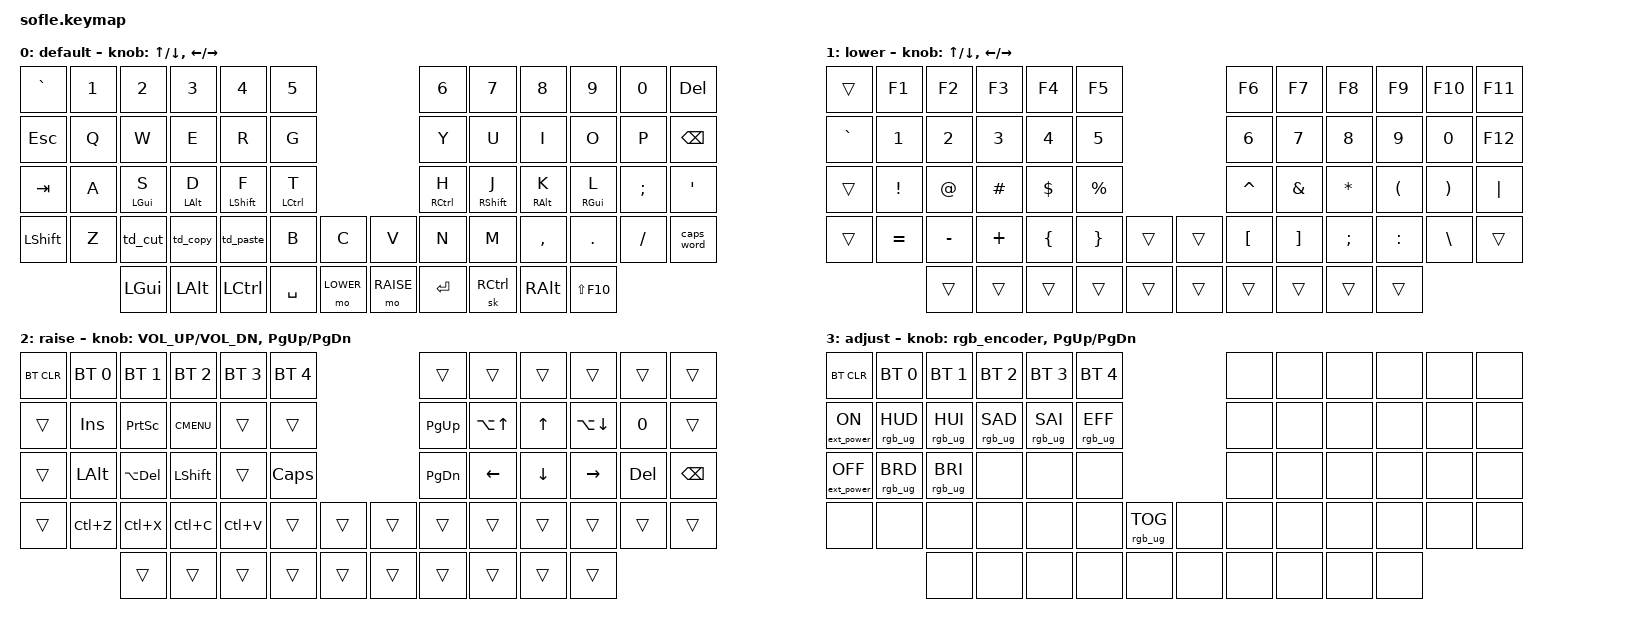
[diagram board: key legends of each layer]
/*
 * Copyright (c) 2020 The ZMK Contributors
 *
 * SPDX-License-Identifier: MIT
 */

#include <behaviors.dtsi>
#include <dt-bindings/zmk/keys.h>
#include <dt-bindings/zmk/bt.h>
#include <dt-bindings/zmk/rgb.h>
#include <dt-bindings/zmk/ext_power.h>

#define BASE 0
#define LOWER 1
#define RAISE 2
#define ADJUST 3

/ {


   // Activate ADJUST layer by pressing raise and lower
    conditional_layers {
        compatible = "zmk,conditional-layers";
        adjust_layer {
            if-layers = <LOWER RAISE>;
            then-layer = <ADJUST>;
        };
    };



    combos {
        compatible = "zmk,combos";
        combo_esc {
            timeout-ms = <300>;
            key-positions = <13 14>;
            bindings = <&kp ESC>;
        };
        combo_grave_1_base {
            timeout-ms = <300>;
            key-positions = <0 1>;
            bindings = <&to BASE>;
        };
        combo_grave_2_lower {
            timeout-ms = <300>;
            key-positions = <0 2>;
            bindings = <&to LOWER>;
        };
        combo_grave_3_raise {
            timeout-ms = <300>;
            key-positions = <0 3>;
            bindings = <&to RAISE>;
        };
        combo_grave_4_adjust {
            timeout-ms = <300>;
            key-positions = <0 4>;
            bindings = <&to ADJUST>;
        };

    };


    behaviors {
        rgb_encoder: rgb_encoder {
            compatible = "zmk,behavior-sensor-rotate";
            #sensor-binding-cells = <0>;
            bindings = <&rgb_ug RGB_HUI>, <&rgb_ug RGB_HUD>;
        };

        td0:  shift_smart {
            compatible = "zmk,behavior-tap-dance";
            #binding-cells = <0>;
            tapping-term-ms = <200>;
            bindings = <&kp N1>, <&kp N2>,<&kp N3>;
        };

        hml: left_hand_hold_tap {
        compatible = "zmk,behavior-hold-tap";
        #binding-cells = <2>;
        flavor = "balanced";
        tapping-term-ms = <280>;
        quick-tap-ms = <175>;
        require-prior-idle-ms = <150>;
        bindings = <&kp>, <&kp>;
        // Índices de la mitad DERECHA del Sofle (incluyendo pulgares derechos)
        hold-trigger-key-positions = <6 7 8 9 10 11 18 19 20 21 22 23 30 31 32 33 34 35 43 44 45 46 47 54 55 56 57 58 59>;
        hold-trigger-on-release;
    };
        require-prior-idle-ms = <150>;

        hmr: right_hand_positional_hold_tap {
            compatible = "zmk,behavior-hold-tap";
            #binding-cells = <2>;
            flavor = "balanced";
            tapping-term-ms = <280>;
            quick-tap-ms = <175>;
            require-prior-idle-ms = <150>;
            bindings = <&kp>, <&kp>;
            // Índices de la mitad IZQUIERDA del Sofle (incluyendo pulgares izquierdos)
            hold-trigger-key-positions = <0 1 2 3 4 5 12 13 14 15 16 17 24 25 26 27 28 29 36 37 38 39 40 41 42 48 49 50 51 52 53>;
            hold-trigger-on-release;
        };

         td_copy: tap_dance_copy {
            compatible = "zmk,behavior-tap-dance";
            #binding-cells = <0>;
            tapping-term-ms = <300>;
            bindings = <&kp C>, <&kp LC(C)>; // 1 toque = C, 2 toques = Ctrl+C
        };


         td_paste: tap_dance_paste {
            compatible = "zmk,behavior-tap-dance";
            #binding-cells = <0>;
            tapping-term-ms = <300>;
            bindings = <&kp V>, <&kp LC(V)>; // 1 toque = V, 2 toques = Ctrl+V
        };

         td_cut: tap_dance_cut {
            compatible = "zmk,behavior-tap-dance";
            #binding-cells = <0>;
            tapping-term-ms = <300>;
            bindings = <&kp X>, <&kp LC(X)>; // 1 toque = X, 2 toques = Ctrl+X
        };

        td_del: tap_dance_del {
            compatible = "zmk,behavior-tap-dance";
            #binding-cells = <0>;
            tapping-term-ms = <300>;
            bindings = <&kp DEL>, <&kp LS(DEL)>; // 1 toque = DEL, 2 toques = Ctrl+DEL
        };
    };

    keymap {
        compatible = "zmk,keymap";

        default_layer {
            display-name = "default";

// ------------------------------------------------------------------------------------------------------------
// |   `   |  1  |  2  |  3   |  4   |  5   |                   |  6   |  7    |  8    |  9   |   0   |       |
// |  ESC  |  Q  |  W  |  E   |  R   |  T   |                   |  Y   |  U    |  I    |  O   |   P   | BKSPC |
// |  TAB  |  A  |  S  |  D   |  F   |  G   |                   |  H   |  J    |  K    |  L   |   ;   |   '   |
// | SHIFT |  Z  |  X  |  C   |  V   |  B   |  MUTE  |  |       |  N   |  M    |  ,    |  .   |   /   | SHIFT |
//               | GUI | ALT  | CTRL | LOWER|  ENTER |  | SPACE | RAISE| CTRL  | ALT   | GUI  |
            bindings = <
&kp GRAVE &kp N1 &kp N2   &kp N3   &kp N4    &kp N5                           &kp N6 &kp N7    &kp N8    &kp N9   &kp N0   &kp DEL
&kp ESC   &kp Q  &kp W    &kp E    &kp R     &kp G                            &kp Y  &kp U     &kp I     &kp O    &kp P    &kp BSPC
&kp TAB   &kp  A  &hml  LGUI S   &hml LALT  D   &hml LSHFT F  &hml LCTRL T         &hmr RCTRL H  &hmr RSHIFT  J    &hmr RALT  K     &hmr RGUI L  &kp SEMI &kp SQT
&kp LSHIFT &kp Z  &td_cut    &td_copy    &td_paste     &kp B           &kp C &kp V     &kp N  &kp M     &kp COMMA &kp DOT  &kp FSLH &caps_word
                 &kp LGUI &kp LALT &kp LCTRL &kp SPACE &mo LOWER    &mo RAISE   &kp RET   &sk RCTRL &kp RALT  &kp LS(F10)
            >;

            sensor-bindings = <&inc_dec_kp UP DOWN &inc_dec_kp LEFT RIGHT>;

        };

        lower_layer {
            display-name = "lower";
// TODO: Some binds are waiting for shifted keycode support.
// ------------------------------------------------------------------------------------------------------------
// |       |  F1 |  F2 |  F3  |  F4  |  F5  |                   |  F6  |  F7   |  F8   |  F9  |  F10  |  F11  |
// |   `   |  1  |  2  |  3   |  4   |  5   |                   |  6   |  7    |  8    |  9   |   0   |  F12  |
// |       |  !  |  @  |  #   |  $   |  %   |                   |  ^   |  &    |  *    |  (   |   )   |   |   |
// |       |  =  |  -  |  +   |  {   |  }   |        |  |       |  [   |  ]    |  ;    |  :   |   \   |       |
//               |     |      |      |      |        |  |       |      |       |       |      |
            bindings = <
&trans    &kp F1    &kp F2    &kp F3      &kp F4    &kp F5                    &kp F6    &kp F7   &kp F8    &kp F9    &kp F10   &kp F11
&kp GRAVE &kp N1    &kp N2    &kp N3      &kp N4    &kp N5                    &kp N6    &kp N7   &kp N8    &kp N9    &kp N0    &kp F12
&trans    &kp EXCL  &kp AT    &kp HASH    &kp DLLR  &kp PRCNT                 &kp CARET &kp AMPS &kp ASTRK &kp LPAR  &kp RPAR  &kp PIPE
&trans    &kp EQUAL &kp MINUS &kp PLUS &kp LBRC  &kp RBRC   &trans &trans  &kp LBKT  &kp RBKT &kp SEMI  &kp COLON &kp BSLH  &trans
                    &trans    &trans      &trans    &trans     &trans &trans  &trans   &trans   &trans    &trans
            >;
            sensor-bindings = <&inc_dec_kp UP DOWN &inc_dec_kp LEFT RIGHT>;
        };

        raise_layer {
            display-name = "raise";
// ------------------------------------------------------------------------------------------------------------
// | BTCLR | BT1  | BT2  |  BT3  |  BT4  |  BT5 |                |      |      |       |      |       |       |
// |       | INS  | PSCR | GUI   |       |      |                | PGUP |      |   ^   |      |       |       |
// |       | ALT  | CTRL | SHIFT |       | CAPS |    4            | PGDN |   <- |   v   |  ->  |  DEL  | BKSPC |
// |       | UNDO | CUT  | COPY  | PASTE |      |      |  |      |      |      |       |      |       |       |
//                |      |       |       |      |      |  |      |      |      |       |      |
            bindings = <
&bt BT_CLR &bt BT_SEL 0 &bt BT_SEL 1 &bt BT_SEL 2 &bt BT_SEL 3 &bt BT_SEL 4                  &trans    &trans    &trans   &trans    &trans  &trans
&trans     &kp INS      &kp PSCRN    &kp K_CMENU  &trans       &trans                        &kp PG_UP &kp LA(UP)    &kp UP   &kp LA(DOWN)    &kp N0  &trans
&trans     &kp LALT     &kp LA(DEL)   &kp LSHFT    &trans       &kp CLCK                      &kp PG_DN &kp LEFT  &kp DOWN &kp RIGHT &kp DEL &kp BSPC
&trans     &kp LC(Z)   &kp LC(X)    &kp LC(C)   &kp LC(V)  &trans        &trans  &trans  &trans    &trans    &trans   &trans    &trans  &trans
                        &trans       &trans       &trans       &trans        &trans  &trans  &trans    &trans    &trans   &trans
            >;

            sensor-bindings = <&inc_dec_kp C_VOL_UP C_VOL_DN &inc_dec_kp PG_UP PG_DN>;
        };

        adjust_layer {
// ----------------------------------------------------------------------------------------------------------------------------
// | BTCLR  |  BT1    |  BT2    |   BT3   |   BT4   |   BT5   |                  |      |      |       |      |       |       |
// | EXTPWR | RGB_HUD | RGB_HUI | RGB_SAD | RGB_SAI | RGB_EFF |                  |      |      |       |      |       |       |
// |        | RGB_BRD | RGB_BRI |         |         |         |                  |      |      |       |      |       |       |
// |        |         |         |         |         |         | RGB_TOG | |      |      |      |       |      |       |       |
//                    |         |         |         |         |         | |      |      |      |       |      |
            display-name = "adjust";
            bindings = <
&bt BT_CLR        &bt BT_SEL 0    &bt BT_SEL 1    &bt BT_SEL 2    &bt BT_SEL 3    &bt BT_SEL 4                            &none &none &none &none &none &none
&ext_power EP_ON   &rgb_ug RGB_HUD &rgb_ug RGB_HUI &rgb_ug RGB_SAD &rgb_ug RGB_SAI &rgb_ug RGB_EFF                         &none &none &none &none &none &none
&ext_power EP_OFF    &rgb_ug RGB_BRD &rgb_ug RGB_BRI &none           &none           &none                                   &none &none &none &none &none &none
&none             &none           &none           &none           &none           &none            &rgb_ug RGB_TOG &none  &none &none &none &none &none &none
                                  &none           &none           &none           &none            &none           &none  &none &none &none &none
            >;
            sensor-bindings = <&rgb_encoder &inc_dec_kp PG_UP PG_DN>;
            
        };

    };
};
